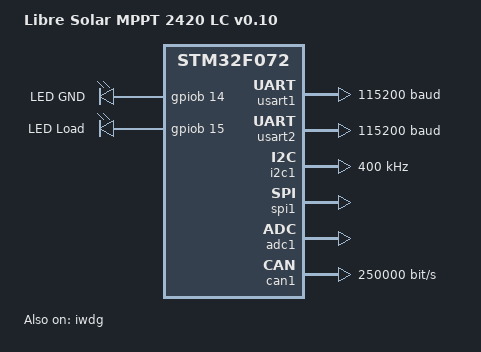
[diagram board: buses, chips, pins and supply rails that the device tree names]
/*
 * SPDX-License-Identifier: Apache-2.0
 *
 * Copyright (c) 2020 Martin Jäger / Libre Solar
 */

/dts-v1/;
#include <st/f0/stm32f072Xb.dtsi>

/ {
	model = "Libre Solar MPPT 2420 LC v0.10";
	compatible = "st,stm32f072";

	chosen {
		zephyr,console = &usart1;
		zephyr,shell-uart = &usart1;
		zephyr,sram = &sram0;
		zephyr,flash = &flash0;
	};

	leds {
		compatible = "gpio-leds";
		pwr {
			gpios = <&gpiob 14 GPIO_ACTIVE_HIGH>;
			label = "LED GND";
		};
		load {
			gpios = <&gpiob 15 GPIO_ACTIVE_HIGH>;
			label = "LED Load";
		};
	};

	switches {
		compatible = "switch";
		load {
			gpios = <&gpiob 2 GPIO_ACTIVE_LOW>;
			label = "Load disable";
		};
		uext {
			gpios = <&gpioc 14 GPIO_ACTIVE_LOW>;
			label = "UEXT disable";
		};
		can {
			gpios = <&gpioa 15 GPIO_ACTIVE_LOW>;
			label = "CAN disable / standby";
		};
	};

	aliases {
		uart-dbg = &usart1;
		uart-uext = &usart2;
		spi-uext = &spi1;
		i2c-uext = &i2c1;
	};
};

&usart1 {
	current-speed = <115200>;
	status = "okay";
};

&usart2 {
	current-speed = <115200>;
	status = "okay";
};

&i2c1 {
	status = "okay";
	clock-frequency = <I2C_BITRATE_FAST>;
};

&spi1 {
	status = "okay";
};

&iwdg {
	status = "okay";
};

&adc1 {
	status = "okay";
};

&can1 {
	bus-speed = <250000>;
	status = "okay";
};
